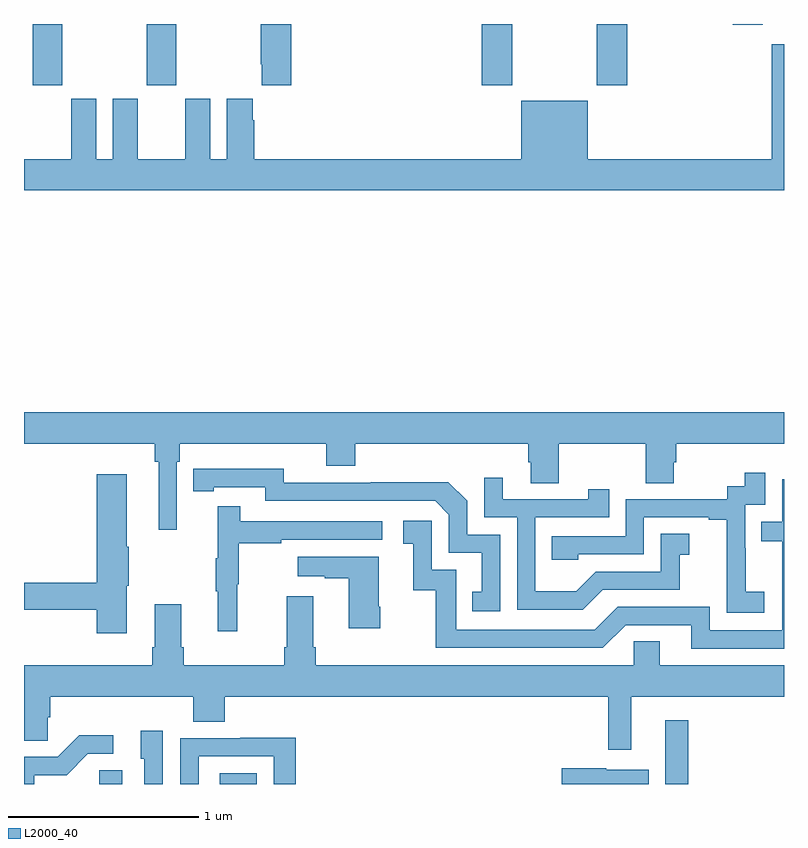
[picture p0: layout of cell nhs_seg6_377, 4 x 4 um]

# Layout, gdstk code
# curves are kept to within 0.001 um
import gdstk
lib = gdstk.Library(unit=1e-6, precision=1e-09)
def R(c, l, rs):  # rectangles x0, y0, x1, y1
    for r in rs: c.add(gdstk.rectangle(r[:2], r[2:], *l))
def P(c, l, *ps):  # polygons
    for p in ps: c.add(gdstk.Polygon(p, *l))
L2000_40 = (2000, 40)

nhs_seg6_377 = lib.new_cell('nhs_seg6_377')
R(nhs_seg6_377, L2000_40, [(131.397,989.5,131.518,989.573), (132.029,989.5,132.226,989.557), (134.375,989.5,134.497,989.836), (131.047,993.177,131.202,993.5), (131.647,993.177,131.802,993.5), (133.409,993.177,133.569,993.5), (134.014,993.177,134.174,993.5), (134.729,993.495,134.889,993.5)])
P(nhs_seg6_377, L2000_40, [(132.407,993.5),(132.247,993.5),(132.247,993.289),(132.251,993.289),(132.251,993.177),(132.407,993.177)],
  [(135,993.394),(134.936,993.394),(134.936,992.788),(133.966,992.788),(133.966,993.097),(133.616,993.097),(133.616,992.788),(132.212,992.788),(132.212,992.993),(132.205,992.993),(132.205,993.106),(132.068,993.106),(132.068,992.788),(131.98,992.788),(131.98,993.106),(131.849,993.106),(131.849,992.788),(131.599,992.788),(131.599,993.106),(131.468,993.106),(131.468,992.788),(131.38,992.788),(131.38,993.106),(131.249,993.106),(131.249,992.788),(131,992.788),(131,992.624),(135,992.624)],
  [(131.805,991.196),(131.819,991.196),(131.819,991.292),(132.59,991.292),(132.59,991.175),(132.743,991.175),(132.743,991.292),(133.655,991.292),(133.655,991.194),(133.667,991.194),(133.667,991.084),(133.815,991.084),(133.815,991.292),(134.272,991.292),(134.272,991.084),(134.419,991.084),(134.419,991.194),(134.432,991.194),(134.432,991.292),(135,991.292),(135,991.456),(131,991.456),(131,991.292),(131.689,991.292),(131.689,991.196),(131.708,991.196),(131.708,990.837),(131.805,990.837)],
  [(133.506,990.813),(133.332,990.813),(133.332,990.99),(133.234,991.088),(132.826,991.088),(132.826,991.086),(132.366,991.086),(132.366,991.159),(131.89,991.158),(131.89,991.042),(131.998,991.042),(131.998,991.062),(132.27,991.062),(132.27,990.99),(133.164,990.99),(133.236,990.918),(133.236,990.717),(133.409,990.717),(133.409,990.513),(133.36,990.513),(133.36,990.408),(133.506,990.408)],
  [(134.896,990.511),(134.798,990.511),(134.798,990.74),(134.796,990.74),(134.796,990.969),(134.901,990.969),(134.901,991.138),(134.793,991.138),(134.793,991.068),(134.7,991.068),(134.7,990.999),(134.166,990.999),(134.166,990.804),(133.777,990.804),(133.777,990.681),(133.917,990.681),(133.917,990.708),(134.262,990.708),(134.262,990.903),(134.603,990.903),(134.603,990.891),(134.699,990.891),(134.699,990.607),(134.698,990.607),(134.698,990.401),(134.896,990.401)],
  [(131.542,990.543),(131.55,990.543),(131.55,990.749),(131.542,990.749),(131.542,991.129),(131.384,991.129),(131.384,990.56),(131,990.56),(131,990.418),(131.384,990.418),(131.384,990.294),(131.542,990.294)],
  [(134.047,990.522),(134.451,990.522),(134.451,990.707),(134.5,990.707),(134.5,990.817),(134.352,990.817),(134.352,990.618),(134.01,990.618),(133.906,990.514),(133.692,990.514),(133.692,990.903),(134.081,990.903),(134.081,991.051),(133.97,991.051),(133.97,990.999),(133.519,990.999),(133.519,991.111),(133.422,991.111),(133.422,990.903),(133.596,990.903),(133.596,990.417),(133.942,990.417)],
  [(135,991.104),(134.991,991.104),(134.991,990.879),(134.881,990.879),(134.881,990.778),(134.991,990.778),(134.991,990.309),(134.61,990.309),(134.61,990.432),(134.124,990.432),(134.004,990.312),(133.275,990.312),(133.275,990.627),(133.146,990.627),(133.146,990.886),(132.996,990.886),(132.996,990.765),(133.049,990.765),(133.049,990.519),(133.167,990.519),(133.167,990.216),(134.046,990.216),(134.166,990.336),(134.513,990.336),(134.513,990.213),(135,990.213)],
  [(132.122,990.552),(132.13,990.552),(132.13,990.766),(132.353,990.766),(132.353,990.786),(132.886,990.786),(132.886,990.882),(132.137,990.882),(132.137,990.961),(132.02,990.961),(132.02,990.689),(132.009,990.689),(132.009,990.515),(132.02,990.515),(132.02,990.303),(132.122,990.303)],
  [(132.876,990.433),(132.868,990.433),(132.868,990.697),(132.441,990.697),(132.441,990.593),(132.584,990.593),(132.584,990.583),(132.71,990.583),(132.71,990.321),(132.876,990.321)],
  [(134.197,989.96),(135,989.96),(135,990.124),(134.347,990.124),(134.347,990.251),(134.208,990.251),(134.208,990.124),(132.536,990.124),(132.536,990.22),(132.523,990.22),(132.523,990.487),(132.383,990.487),(132.383,990.22),(132.371,990.22),(132.371,990.124),(131.84,990.124),(131.84,990.22),(131.827,990.22),(131.827,990.445),(131.687,990.445),(131.687,990.22),(131.675,990.22),(131.675,990.124),(131,990.124),(131,989.728),(131.124,989.728),(131.124,989.851),(131.138,989.851),(131.138,989.96),(131.891,989.96),(131.891,989.827),(132.056,989.827),(132.056,989.96),(134.076,989.96),(134.076,989.679),(134.197,989.679)],
  [(131.73,989.779),(131.615,989.779),(131.615,989.634),(131.634,989.634),(131.634,989.5),(131.73,989.5)],
  [(131.055,989.547),(131.224,989.547),(131.335,989.658),(131.47,989.658),(131.47,989.756),(131.291,989.756),(131.178,989.643),(131,989.643),(131,989.5),(131.055,989.5)],
  [(131.919,989.646),(132.315,989.646),(132.315,989.5),(132.431,989.5),(132.431,989.744),(132.139,989.744),(132.139,989.742),(131.823,989.742),(131.823,989.5),(131.919,989.5)],
  [(134.287,989.575),(134.064,989.575),(134.064,989.583),(133.83,989.583),(133.83,989.5),(134.287,989.5)])

lib.write_gds('nhs_seg6_377.gds')
